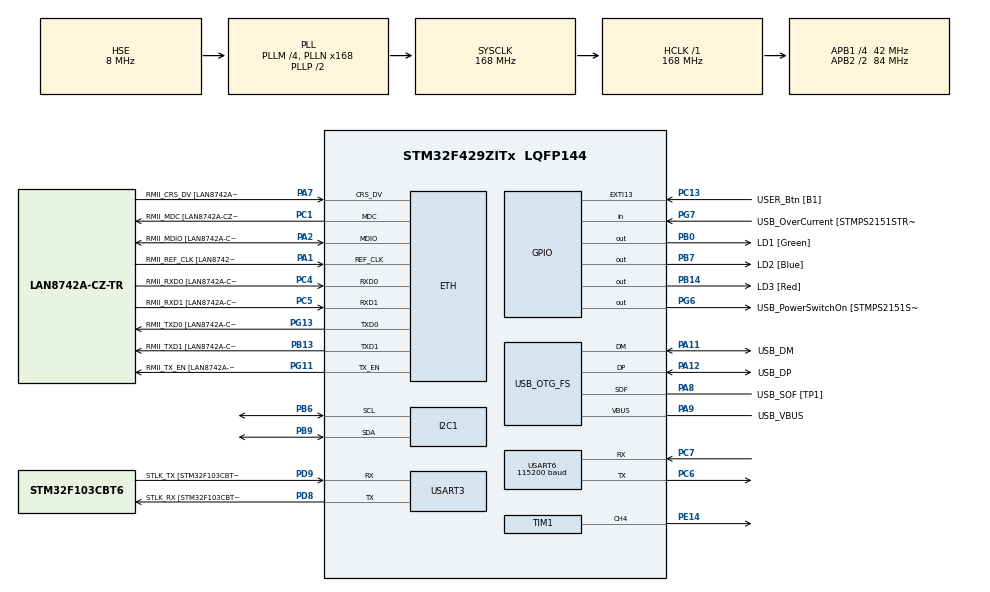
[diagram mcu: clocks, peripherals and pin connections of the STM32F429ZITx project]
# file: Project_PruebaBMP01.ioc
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ETH.MediaInterface=HAL_ETH_RMII_MODE
ETH.PHY_Name=LAN8742A_PHY_ADDRESS
ETH.PHY_Value=0
ETH.PhyAddress=0
Mcu.Family=STM32F4
Mcu.Name=STM32F429ZITx
Mcu.Package=LQFP144
NVIC.PriorityGroup=NVIC_PRIORITYGROUP_4
NVIC.USART6_IRQn=true\:0\:0\:false\:false\:true\:true\:true\:true
PA1.GPIO_Label=RMII_REF_CLK [LAN8742A-CZ-TR_REFCLK0]
PA1.Mode=RMII
PA1.Signal=ETH_REF_CLK
PA10.GPIO_Label=USB_ID
PA10.Signal=USB_OTG_FS_ID
PA11.GPIO_Label=USB_DM
PA11.Mode=Device_Only
PA11.Signal=USB_OTG_FS_DM
PA12.GPIO_Label=USB_DP
PA12.Mode=Device_Only
PA12.Signal=USB_OTG_FS_DP
PA13.GPIO_Label=TMS
PA13.Mode=Serial_Wire
PA13.Signal=SYS_JTMS-SWDIO
PA14.GPIO_Label=TCK
PA14.Mode=Serial_Wire
PA14.Signal=SYS_JTCK-SWCLK
PA2.GPIO_Label=RMII_MDIO [LAN8742A-CZ-TR_MDIO]
PA2.Mode=RMII
PA2.Signal=ETH_MDIO
PA7.GPIO_Label=RMII_CRS_DV [LAN8742A-CZ-TR_CRS_DV]
PA7.Mode=RMII
PA7.Signal=ETH_CRS_DV
PA8.GPIO_Label=USB_SOF [TP1]
PA8.Mode=Activate_SOF_FS
PA8.Signal=USB_OTG_FS_SOF
PA9.GPIO_Label=USB_VBUS
PA9.Mode=Activate_VBUS
PA9.Signal=USB_OTG_FS_VBUS
PB0.GPIO_Label=LD1 [Green]
PB0.Signal=GPIO_Output
PB13.GPIO_Label=RMII_TXD1 [LAN8742A-CZ-TR_TXD1]
PB13.Mode=RMII
PB13.Signal=ETH_TXD1
PB14.GPIO_Label=LD3 [Red]
PB14.Signal=GPIO_Output
PB6.Mode=I2C
PB6.Signal=I2C1_SCL
PB7.GPIO_Label=LD2 [Blue]
PB7.Signal=GPIO_Output
PB9.Mode=I2C
PB9.Signal=I2C1_SDA
PC1.GPIO_Label=RMII_MDC [LAN8742A-CZ-TR_MDC]
PC1.Mode=RMII
PC1.Signal=ETH_MDC
PC13.GPIO_Label=USER_Btn [B1]
PC13.Signal=GPXTI13
PC14/OSC32_IN.Mode=LSE-External-Oscillator
PC14/OSC32_IN.Signal=RCC_OSC32_IN
PC15/OSC32_OUT.Mode=LSE-External-Oscillator
PC15/OSC32_OUT.Signal=RCC_OSC32_OUT
PC4.GPIO_Label=RMII_RXD0 [LAN8742A-CZ-TR_RXD0]
PC4.Mode=RMII
PC4.Signal=ETH_RXD0
PC5.GPIO_Label=RMII_RXD1 [LAN8742A-CZ-TR_RXD1]
PC5.Mode=RMII
PC5.Signal=ETH_RXD1
PC6.Mode=Asynchronous
PC6.Signal=USART6_TX
PC7.Mode=Asynchronous
PC7.Signal=USART6_RX
PD8.GPIO_Label=STLK_RX [STM32F103CBT6_PA3]
PD8.Mode=Asynchronous
PD8.Signal=USART3_TX
PD9.GPIO_Label=STLK_TX [STM32F103CBT6_PA2]
PD9.Mode=Asynchronous
PD9.Signal=USART3_RX
PE14.Signal=S_TIM1_CH4
PG11.GPIO_Label=RMII_TX_EN [LAN8742A-CZ-TR_TXEN]
PG11.Mode=RMII
PG11.Signal=ETH_TX_EN
PG13.GPIO_Label=RMII_TXD0 [LAN8742A-CZ-TR_TXD0]
PG13.Mode=RMII
PG13.Signal=ETH_TXD0
PG6.GPIO_Label=USB_PowerSwitchOn [STMPS2151STR_EN]
PG6.Signal=GPIO_Output
PG7.GPIO_Label=USB_OverCurrent [STMPS2151STR_FAULT]
PG7.Signal=GPIO_Input
PH0/OSC_IN.GPIO_Label=MCO [STM32F103CBT6_PA8]
PH0/OSC_IN.Mode=HSE-External-Clock-Source
PH0/OSC_IN.Signal=RCC_OSC_IN
PH1/OSC_OUT.Mode=HSE-External-Clock-Source
PH1/OSC_OUT.Signal=RCC_OSC_OUT
ProjectManager.HeapSize=0x200
ProjectManager.StackSize=0x400
ProjectManager.TargetToolchain=STM32CubeIDE
RCC.48MHZClocksFreq_Value=48000000
RCC.AHBFreq_Value=168000000
RCC.APB1CLKDivider=RCC_HCLK_DIV4
RCC.APB1Freq_Value=42000000
RCC.APB1TimFreq_Value=84000000
RCC.APB2CLKDivider=RCC_HCLK_DIV2
RCC.APB2Freq_Value=84000000
RCC.APB2TimCLKDivider=2
RCC.APB2TimFreq_Value=168000000
RCC.CortexFreq_Value=168000000
RCC.HCLKFreq_Value=168000000
RCC.HSE_VALUE=8000000
RCC.HSI_VALUE=16000000
RCC.PLLM=4
RCC.PLLMUL=RCC_PLL_MUL9
RCC.PLLN=168
RCC.PLLQ=7
RCC.PRESCALERUSB=RCC_USBCLKSOURCE_PLL_DIV1_5
RCC.SYSCLKFreq_VALUE=168000000
RCC.SYSCLKSource=RCC_SYSCLKSOURCE_PLLCLK
RCC.SYSCLKSourceVirtual=RCC_SYSCLKSOURCE_PLLCLK
RCC.USBFreq_Value=48000000
RCC.VCOOutputFreq_Value=336000000
SH.S_TIM1_CH4.0=TIM1_CH4,PWM Generation4 CH4
TIM1.Channel-PWM\ Generation4\ CH4=TIM_CHANNEL_4
TIM1.Period=100
TIM1.Prescaler=167
TIM3.Prescaler=83
USART3.VirtualMode=VM_ASYNC
USART6.BaudRate=115200
USART6.VirtualMode=VM_ASYNC
USB_OTG_FS.VirtualMode=Device_Only
VP_TIM1_VS_ClockSourceINT.Mode=Internal
VP_TIM3_VS_ClockSourceINT.Mode=Internal
board=NUCLEO-F429ZI

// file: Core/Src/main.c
/* USER CODE BEGIN Header */
/**
  ******************************************************************************
  * @file           : main.c
  * @brief          : Main program body
  ******************************************************************************
  * @attention
  *
  * Copyright (c) 2026 STMicroelectronics.
  * All rights reserved.
  *
  * This software is licensed under terms that can be found in the LICENSE file
  * in the root directory of this software component.
  * If no LICENSE file comes with this software, it is provided AS-IS.
  *
  ******************************************************************************
  */
/* USER CODE END Header */
#include "main.h"
#include "string.h"

/* USER CODE BEGIN Includes */

#include "API_BMP180.h"
#include <stdio.h>
#include <string.h>
/* USER CODE END Includes */

/* USER CODE BEGIN PD */
#define I2C hi2c1
#define BLT t800
#define BLTUART huart6
#define CMD_BUFFER_SIZE 64
#define TIME_BMP 1000
#define TIME_DHT 1500
#define TIME_BLT 2000
/* USER CODE END PD */

ETH_TxPacketConfig TxConfig;
ETH_DMADescTypeDef  DMARxDscrTab[ETH_RX_DESC_CNT]; /* Ethernet Rx DMA Descriptors */
ETH_DMADescTypeDef  DMATxDscrTab[ETH_TX_DESC_CNT]; /* Ethernet Tx DMA Descriptors */

ETH_HandleTypeDef heth;

I2C_HandleTypeDef hi2c1;

TIM_HandleTypeDef htim1;
TIM_HandleTypeDef htim3;

UART_HandleTypeDef huart3;
UART_HandleTypeDef huart6;

PCD_HandleTypeDef hpcd_USB_OTG_FS;

/* USER CODE BEGIN PV */
Motor_HandleTypeDef Coolers;
int modo = 0;
int PWM = 100;
int submodo = 10;
int veloc = 50;
HC05_HandleTypeDef BLT;
bmp180_t bmp = {.oversampling_setting = standart};
DHT11_InitTypeDef dht11;
/* Buffer UART */
char txBuffer[32];
char cmd_buffer[CMD_BUFFER_SIZE];
uint8_t cmd_index = 0;
delay_t delayDHT;
delay_t delayBMP;
delay_t delayBLT;
char uartBuf[64];
float temp1=0;
float temp2=0;
float diff=0;
/* USER CODE END PV */

void SystemClock_Config(void);
static void MX_ETH_Init(void);
static void MX_USART3_UART_Init(void);
static void MX_USB_OTG_FS_PCD_Init(void);
static void MX_I2C1_Init(void);
static void MX_USART6_UART_Init(void);
static void MX_TIM3_Init(void);
static void MX_TIM1_Init(void);

int main(void)
{

  /* MCU Configuration--------------------------------------------------------*/

  /* Reset of all peripherals, Initializes the Flash interface and the Systick. */
  HAL_Init();

  /* Configure the system clock */
  SystemClock_Config();

  /* USER CODE BEGIN SysInit */
	  Motor_SetDirection(&Coolers, MOTOR_DIR_FORWARD);
  /* USER CODE END SysInit */

  /* Initialize all configured peripherals */
  MX_GPIO_Init();
  MX_ETH_Init();
  MX_USART3_UART_Init();
  MX_USB_OTG_FS_PCD_Init();
  MX_I2C1_Init();
  MX_USART6_UART_Init();
  MX_TIM3_Init();
  MX_TIM1_Init();
  /* USER CODE BEGIN 2 */
	  Motor_Init(&Coolers,&htim1,TIM_CHANNEL_4,IN1_PORT, IN1_PIN,IN2_PORT, IN2_PIN);
	  HAL_DHT11_Init(&dht11, GPIOB, GPIO_PIN_11, &htim3);
	  HC05_Init(&BLT, &BLTUART);
	  bmp180_init(&I2C,&bmp);
	  HC05_StartReception(&BLT);
	  delayInit(&delayDHT, TIME_DHT);
	  delayInit(&delayBMP, TIME_BMP);
	  delayInit(&delayBLT, TIME_BLT);
	  HAL_TIM_PWM_Start(&htim3, TIM_CHANNEL_1);
  /* USER CODE END 2 */

  /* Infinite loop */
  /* USER CODE BEGIN WHILE */
  while (1)
  {

  while (HC05_Available(&BLT))
{
  uint8_t byte = HC05_Read(&BLT);

  if (byte == '\r')
      continue;
  if (byte == '\n')  // Fin de comando
  {
      cmd_buffer[cmd_index] = '\0';  // Terminar string

      if (strcmp(cmd_buffer, "MODE:AUTO") == 0)
      {

          HAL_GPIO_WritePin(LD2_GPIO_Port, LD2_Pin, GPIO_PIN_SET);
      }
      else if (strcmp(cmd_buffer, "MODE:MANUAL") == 0)
      {
          HAL_GPIO_WritePin(LD2_GPIO_Port, LD2_Pin, GPIO_PIN_RESET);
      }
      else if (strcmp(cmd_buffer, "FAN:ON") == 0)
      {
          HAL_GPIO_WritePin(LD2_GPIO_Port, LD2_Pin, GPIO_PIN_RESET);
      }
      else if (strcmp(cmd_buffer, "FAN:OFF") == 0)
      {
          HAL_GPIO_WritePin(LD2_GPIO_Port, LD2_Pin, GPIO_PIN_RESET);
      }
      else if (strcmp(cmd_buffer, "FAN:50") == 0)
      {
          HAL_GPIO_WritePin(LD2_GPIO_Port, LD2_Pin, GPIO_PIN_RESET);
      }
      else if (strcmp(cmd_buffer, "FAN:100") == 0)
      {
          HAL_GPIO_WritePin(LD2_GPIO_Port, LD2_Pin, GPIO_PIN_RESET);
      }

      cmd_index = 0;  // Reset buffer
  }
  else
  {
      if (cmd_index < CMD_BUFFER_SIZE - 1)
      {
          cmd_buffer[cmd_index++] = byte;
      }
      else
      {
          // Overflow: resetear
          cmd_index = 0;
      }
  }
}
  if (delayRead(&delayDHT))
  HAL_DHT11_ReadData(&dht11);
  if (delayRead(&delayBMP))
  bmp180_get_all(&bmp);
  temp2 = bmp.temperature;
  temp1 = dht11.Temperature;
  diff = temp1 - temp2;
  if (delayRead(&delayBLT)){ snprintf(txBuffer, sizeof(txBuffer),"EXT:%.1f",bmp.temperature);
HC05_WriteLine(&BLT,txBuffer);
snprintf(txBuffer, sizeof(txBuffer),"TEMP:%.1f",dht11.Temperature);
HC05_WriteLine(&BLT,txBuffer);
snprintf(txBuffer, sizeof(txBuffer),"HUM:%.1f",dht11.Humidity);
HC05_WriteLine(&BLT,txBuffer);
snprintf(txBuffer, sizeof(txBuffer),"PRES: %.2f", bmp.pressure / 100.0f);
HC05_WriteLine(&BLT,txBuffer);
HC05_WriteLine(&BLT,"FAN:OFF");
HC05_WriteLine(&BLT,"ROOF:CLOSED");
snprintf(uartBuf, sizeof(uartBuf),"Temp: %.1f C   Hum: %.1f %%\r\n",dht11.Temperature, dht11.Humidity);

HAL_UART_Transmit(&huart3, (uint8_t*)uartBuf,strlen(uartBuf), HAL_MAX_DELAY);
snprintf(uartBuf, sizeof(uartBuf),"TempEX: %.1f C   PRES: %.2f hPa\r\n",bmp.temperature, bmp.pressure / 100.0f);
HAL_UART_Transmit(&huart3, (uint8_t*)uartBuf,strlen(uartBuf), HAL_MAX_DELAY);
snprintf(uartBuf, sizeof(uartBuf),
         "Diff: %.2f C\r\n", diff);
HAL_UART_Transmit(&huart3,
                  (uint8_t*)uartBuf,
                  strlen(uartBuf),
                  HAL_MAX_DELAY);
  }
  switch(modo)
  {
      case 0:

          if (diff > 1.5f)
              veloc = 100;
          else if (diff > 1.1f)
              veloc = 80;
          else if (diff > 0.8f)
              veloc = 60;
          else if (diff > 0.5f)
              veloc = 40;
          else if (diff > 0.2f)
              veloc = 30;
          else
              veloc = 0;

          break;

      default:
          veloc = 0;
          break;
  }

  Motor_SetSpeed(&Coolers, veloc);
    /* USER CODE END WHILE */

  }
}

void SystemClock_Config(void)
{
  RCC_OscInitTypeDef RCC_OscInitStruct = {0};
  RCC_ClkInitTypeDef RCC_ClkInitStruct = {0};

  /** Configure the main internal regulator output voltage
  */
  __HAL_RCC_PWR_CLK_ENABLE();
  __HAL_PWR_VOLTAGESCALING_CONFIG(PWR_REGULATOR_VOLTAGE_SCALE1);

  /** Initializes the RCC Oscillators according to the specified parameters
  * in the RCC_OscInitTypeDef structure.
  */
  RCC_OscInitStruct.OscillatorType = RCC_OSCILLATORTYPE_HSE;
  RCC_OscInitStruct.HSEState = RCC_HSE_BYPASS;
  RCC_OscInitStruct.PLL.PLLState = RCC_PLL_ON;
  RCC_OscInitStruct.PLL.PLLSource = RCC_PLLSOURCE_HSE;
  RCC_OscInitStruct.PLL.PLLM = 4;
  RCC_OscInitStruct.PLL.PLLN = 168;
  RCC_OscInitStruct.PLL.PLLP = RCC_PLLP_DIV2;
  RCC_OscInitStruct.PLL.PLLQ = 7;
  if (HAL_RCC_OscConfig(&RCC_OscInitStruct) != HAL_OK)
  {
    Error_Handler();
  }

  /** Initializes the CPU, AHB and APB buses clocks
  */
  RCC_ClkInitStruct.ClockType = RCC_CLOCKTYPE_HCLK|RCC_CLOCKTYPE_SYSCLK
                              |RCC_CLOCKTYPE_PCLK1|RCC_CLOCKTYPE_PCLK2;
  RCC_ClkInitStruct.SYSCLKSource = RCC_SYSCLKSOURCE_PLLCLK;
  RCC_ClkInitStruct.AHBCLKDivider = RCC_SYSCLK_DIV1;
  RCC_ClkInitStruct.APB1CLKDivider = RCC_HCLK_DIV4;
  RCC_ClkInitStruct.APB2CLKDivider = RCC_HCLK_DIV2;

  if (HAL_RCC_ClockConfig(&RCC_ClkInitStruct, FLASH_LATENCY_5) != HAL_OK)
  {
    Error_Handler();
  }
}

static void MX_ETH_Init(void)
{

   static uint8_t MACAddr[6];

  heth.Instance = ETH;
  MACAddr[0] = 0x00;
  MACAddr[1] = 0x80;
  MACAddr[2] = 0xE1;
  MACAddr[3] = 0x00;
  MACAddr[4] = 0x00;
  MACAddr[5] = 0x00;
  heth.Init.MACAddr = &MACAddr[0];
  heth.Init.MediaInterface = HAL_ETH_RMII_MODE;
  heth.Init.TxDesc = DMATxDscrTab;
  heth.Init.RxDesc = DMARxDscrTab;
  heth.Init.RxBuffLen = 1524;

  if (HAL_ETH_Init(&heth) != HAL_OK)
  {
    Error_Handler();
  }

  memset(&TxConfig, 0 , sizeof(ETH_TxPacketConfig));
  TxConfig.Attributes = ETH_TX_PACKETS_FEATURES_CSUM | ETH_TX_PACKETS_FEATURES_CRCPAD;
  TxConfig.ChecksumCtrl = ETH_CHECKSUM_IPHDR_PAYLOAD_INSERT_PHDR_CALC;
  TxConfig.CRCPadCtrl = ETH_CRC_PAD_INSERT;

}

static void MX_I2C1_Init(void)
{

  hi2c1.Instance = I2C1;
  hi2c1.Init.ClockSpeed = 100000;
  hi2c1.Init.DutyCycle = I2C_DUTYCYCLE_2;
  hi2c1.Init.OwnAddress1 = 0;
  hi2c1.Init.AddressingMode = I2C_ADDRESSINGMODE_7BIT;
  hi2c1.Init.DualAddressMode = I2C_DUALADDRESS_DISABLE;
  hi2c1.Init.OwnAddress2 = 0;
  hi2c1.Init.GeneralCallMode = I2C_GENERALCALL_DISABLE;
  hi2c1.Init.NoStretchMode = I2C_NOSTRETCH_DISABLE;
  if (HAL_I2C_Init(&hi2c1) != HAL_OK)
  {
    Error_Handler();
  }

  /** Configure Analogue filter
  */
  if (HAL_I2CEx_ConfigAnalogFilter(&hi2c1, I2C_ANALOGFILTER_ENABLE) != HAL_OK)
  {
    Error_Handler();
  }

  /** Configure Digital filter
  */
  if (HAL_I2CEx_ConfigDigitalFilter(&hi2c1, 0) != HAL_OK)
  {
    Error_Handler();
  }

}

static void MX_TIM1_Init(void)
{

  TIM_ClockConfigTypeDef sClockSourceConfig = {0};
  TIM_MasterConfigTypeDef sMasterConfig = {0};
  TIM_OC_InitTypeDef sConfigOC = {0};
  TIM_BreakDeadTimeConfigTypeDef sBreakDeadTimeConfig = {0};

  htim1.Instance = TIM1;
  htim1.Init.Prescaler = 167;
  htim1.Init.CounterMode = TIM_COUNTERMODE_UP;
  htim1.Init.Period = 100;
  htim1.Init.ClockDivision = TIM_CLOCKDIVISION_DIV1;
  htim1.Init.RepetitionCounter = 0;
  htim1.Init.AutoReloadPreload = TIM_AUTORELOAD_PRELOAD_DISABLE;
  if (HAL_TIM_Base_Init(&htim1) != HAL_OK)
  {
    Error_Handler();
  }
  sClockSourceConfig.ClockSource = TIM_CLOCKSOURCE_INTERNAL;
  if (HAL_TIM_ConfigClockSource(&htim1, &sClockSourceConfig) != HAL_OK)
  {
    Error_Handler();
  }
  if (HAL_TIM_PWM_Init(&htim1) != HAL_OK)
  {
    Error_Handler();
  }
  sMasterConfig.MasterOutputTrigger = TIM_TRGO_RESET;
  sMasterConfig.MasterSlaveMode = TIM_MASTERSLAVEMODE_DISABLE;
  if (HAL_TIMEx_MasterConfigSynchronization(&htim1, &sMasterConfig) != HAL_OK)
  {
    Error_Handler();
  }
  sConfigOC.OCMode = TIM_OCMODE_PWM1;
  sConfigOC.Pulse = 0;
  sConfigOC.OCPolarity = TIM_OCPOLARITY_HIGH;
  sConfigOC.OCFastMode = TIM_OCFAST_DISABLE;
  sConfigOC.OCIdleState = TIM_OCIDLESTATE_RESET;
  sConfigOC.OCNIdleState = TIM_OCNIDLESTATE_RESET;
  if (HAL_TIM_PWM_ConfigChannel(&htim1, &sConfigOC, TIM_CHANNEL_4) != HAL_OK)
  {
    Error_Handler();
  }
  sBreakDeadTimeConfig.OffStateRunMode = TIM_OSSR_DISABLE;
  sBreakDeadTimeConfig.OffStateIDLEMode = TIM_OSSI_DISABLE;
  sBreakDeadTimeConfig.LockLevel = TIM_LOCKLEVEL_OFF;
  sBreakDeadTimeConfig.DeadTime = 0;
  sBreakDeadTimeConfig.BreakState = TIM_BREAK_DISABLE;
  sBreakDeadTimeConfig.BreakPolarity = TIM_BREAKPOLARITY_HIGH;
  sBreakDeadTimeConfig.AutomaticOutput = TIM_AUTOMATICOUTPUT_DISABLE;
  if (HAL_TIMEx_ConfigBreakDeadTime(&htim1, &sBreakDeadTimeConfig) != HAL_OK)
  {
    Error_Handler();
  }
  HAL_TIM_MspPostInit(&htim1);

}

static void MX_TIM3_Init(void)
{

  TIM_ClockConfigTypeDef sClockSourceConfig = {0};
  TIM_MasterConfigTypeDef sMasterConfig = {0};

  htim3.Instance = TIM3;
  htim3.Init.Prescaler = 83;
  htim3.Init.CounterMode = TIM_COUNTERMODE_UP;
  htim3.Init.Period = 65535;
  htim3.Init.ClockDivision = TIM_CLOCKDIVISION_DIV1;
  htim3.Init.AutoReloadPreload = TIM_AUTORELOAD_PRELOAD_DISABLE;
  if (HAL_TIM_Base_Init(&htim3) != HAL_OK)
  {
    Error_Handler();
  }
  sClockSourceConfig.ClockSource = TIM_CLOCKSOURCE_INTERNAL;
  if (HAL_TIM_ConfigClockSource(&htim3, &sClockSourceConfig) != HAL_OK)
  {
    Error_Handler();
  }
  sMasterConfig.MasterOutputTrigger = TIM_TRGO_RESET;
  sMasterConfig.MasterSlaveMode = TIM_MASTERSLAVEMODE_DISABLE;
  if (HAL_TIMEx_MasterConfigSynchronization(&htim3, &sMasterConfig) != HAL_OK)
  {
    Error_Handler();
  }

}

static void MX_USART3_UART_Init(void)
{

  huart3.Instance = USART3;
  huart3.Init.BaudRate = 115200;
  huart3.Init.WordLength = UART_WORDLENGTH_8B;
  huart3.Init.StopBits = UART_STOPBITS_1;
  huart3.Init.Parity = UART_PARITY_NONE;
  huart3.Init.Mode = UART_MODE_TX_RX;
  huart3.Init.HwFlowCtl = UART_HWCONTROL_NONE;
  huart3.Init.OverSampling = UART_OVERSAMPLING_16;
  if (HAL_UART_Init(&huart3) != HAL_OK)
  {
    Error_Handler();
  }

}

static void MX_USART6_UART_Init(void)
{

  huart6.Instance = USART6;
  huart6.Init.BaudRate = 115200;
  huart6.Init.WordLength = UART_WORDLENGTH_8B;
  huart6.Init.StopBits = UART_STOPBITS_1;
  huart6.Init.Parity = UART_PARITY_NONE;
  huart6.Init.Mode = UART_MODE_TX_RX;
  huart6.Init.HwFlowCtl = UART_HWCONTROL_NONE;
  huart6.Init.OverSampling = UART_OVERSAMPLING_16;
  if (HAL_UART_Init(&huart6) != HAL_OK)
  {
    Error_Handler();
  }

}

static void MX_USB_OTG_FS_PCD_Init(void)
{

  hpcd_USB_OTG_FS.Instance = USB_OTG_FS;
  hpcd_USB_OTG_FS.Init.dev_endpoints = 4;
  hpcd_USB_OTG_FS.Init.speed = PCD_SPEED_FULL;
  hpcd_USB_OTG_FS.Init.dma_enable = DISABLE;
  hpcd_USB_OTG_FS.Init.phy_itface = PCD_PHY_EMBEDDED;
  hpcd_USB_OTG_FS.Init.Sof_enable = ENABLE;
  hpcd_USB_OTG_FS.Init.low_power_enable = DISABLE;
  hpcd_USB_OTG_FS.Init.lpm_enable = DISABLE;
  hpcd_USB_OTG_FS.Init.vbus_sensing_enable = ENABLE;
  hpcd_USB_OTG_FS.Init.use_dedicated_ep1 = DISABLE;
  if (HAL_PCD_Init(&hpcd_USB_OTG_FS) != HAL_OK)
  {
    Error_Handler();
  }

}

/* USER CODE BEGIN 4 */
void HAL_UART_RxCpltCallback(UART_HandleTypeDef *huart)
{
    if (huart->Instance == USART6)
    {
        HC05_RxCpltCallback(&BLT);
    }
}
/* USER CODE END 4 */

void Error_Handler(void)
{
  __disable_irq();
  while (1)
  {
  }
}
